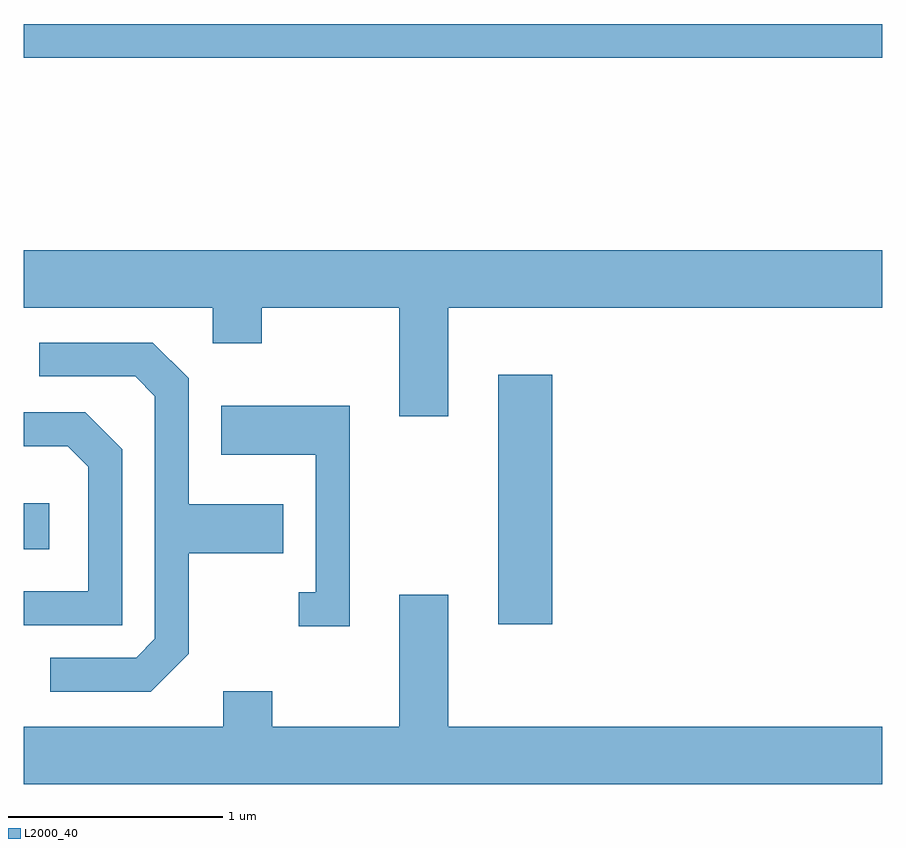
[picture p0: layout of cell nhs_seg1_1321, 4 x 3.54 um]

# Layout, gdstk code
import gdstk
lib = gdstk.Library(unit=1e-6, precision=1e-09)
def R(c, l, rs):  # rectangles x0, y0, x1, y1
    for r in rs: c.add(gdstk.rectangle(r[:2], r[2:], *l))
def P(c, l, *ps):  # polygons
    for p in ps: c.add(gdstk.Polygon(p, *l))
L2000_40 = (2000, 40)

nhs_seg1_1321 = lib.new_cell('nhs_seg1_1321')
R(nhs_seg1_1321, L2000_40, [(227.821,924.741,228.074,925.904), (225.611,925.091,225.729,925.304), (225.611,927.381,229.611,927.539)])
P(nhs_seg1_1321, L2000_40, [(227.589,926.216),(229.611,926.216),(229.611,926.484),(225.611,926.484),(225.611,926.216),(226.491,926.216),(226.491,926.051),(226.719,926.051),(226.719,926.216),(227.361,926.216),(227.361,925.711),(227.589,925.711)],
  [(226.379,924.604),(226.379,925.071),(226.819,925.071),(226.819,925.299),(226.379,925.299),(226.379,925.887),(226.212,926.054),(225.683,926.054),(225.683,925.896),(226.129,925.896),(226.221,925.804),(226.221,924.672),(226.134,924.584),(225.733,924.584),(225.733,924.426),(226.202,924.426)],
  [(227.129,925.759),(226.531,925.759),(226.531,925.531),(226.971,925.531),(226.971,924.889),(226.893,924.889),(226.893,924.731),(227.129,924.731)],
  [(226.069,925.557),(225.897,925.729),(225.611,925.729),(225.611,925.571),(225.814,925.571),(225.911,925.474),(225.911,924.894),(225.611,924.894),(225.611,924.736),(226.069,924.736)],
  [(229.611,924.264),(227.589,924.264),(227.589,924.879),(227.361,924.879),(227.361,924.264),(226.769,924.264),(226.769,924.429),(226.541,924.429),(226.541,924.264),(225.611,924.264),(225.611,923.996),(229.611,923.996)])

lib.write_gds('nhs_seg1_1321.gds')
